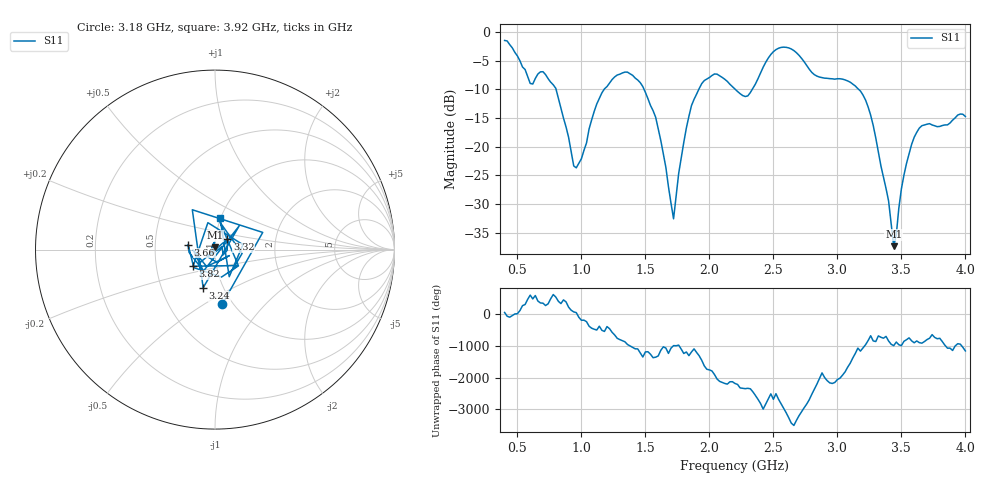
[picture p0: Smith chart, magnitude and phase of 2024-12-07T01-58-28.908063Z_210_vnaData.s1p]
!Created with skrf (http://scikit-rf.org).
# Hz S RI R 50.0
!freq ReS11 ImS11
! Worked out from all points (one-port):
!   181 points, 400 MHz to 4 GHz, reference 50 ohm
!   lowest |S11| = -37.3 dB at 3.44 GHz (marker M1), VSWR 1.03, Z = 50 + j1.36 ohm
!   |S11| at or under -10 dB: 802.2 MHz to 1.177 GHz (375 MHz wide, 37.9 % of centre); 1.49 GHz to 1.917 GHz (427.2 MHz wide, 25.1 % of centre); 3.167 GHz to end of sweep (the widest 3 of 4)
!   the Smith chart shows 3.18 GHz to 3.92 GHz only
!   S11 on the Smith chart (normalised r, x): 3.18 GHz: 0.89, -0.60; 3.24 GHz: 0.80, -0.36; 3.32 GHz: 1.14, +0.13; 3.66 GHz: 0.74, +0.04; 3.82 GHz: 0.77, -0.15; 3.92 GHz: 0.99, +0.36
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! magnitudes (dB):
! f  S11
! 400 MHz  -1.5
! 600 MHz  -8.9
! 720 MHz  -7.4
! 860 MHz  -15.0
! 960 MHz  -23.7
! 1.16 GHz  -10.6
! 1.3 GHz  -7.3
! 1.46 GHz  -8.8
! 1.58 GHz  -14.8
! 1.72 GHz  -32.6
! 1.76 GHz  -24.7
! 1.86 GHz  -12.8
! 1.94 GHz  -9.0
! 2.2 GHz  -10.0
! 2.3 GHz  -11.1
! 2.5 GHz  -3.4
! 2.66 GHz  -3.2
! 3.1 GHz  -8.7
! 3.18 GHz  -10.3
! 3.24 GHz  -13.1
! 3.32 GHz  -20.9
! 3.4 GHz  -29.5
! 3.44 GHz  -37.3
! 3.56 GHz  -21.2
! 3.66 GHz  -16.3
! 3.82 GHz  -16.3
! 3.92 GHz  -15.0
! 4 GHz  -14.7
